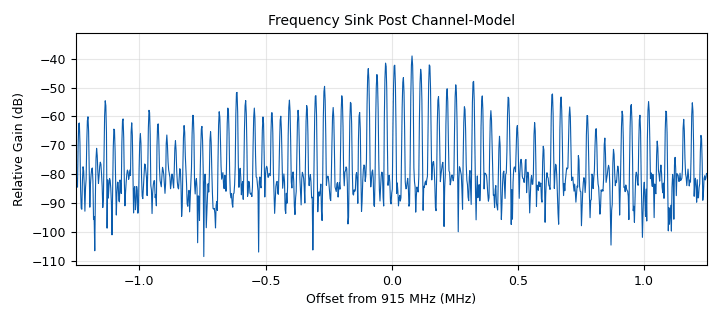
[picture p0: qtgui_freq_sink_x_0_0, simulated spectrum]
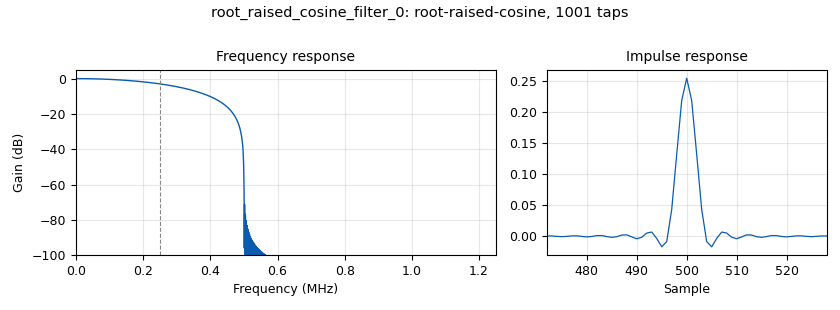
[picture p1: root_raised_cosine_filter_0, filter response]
options:
  parameters:
    generate_options: qt_gui
    id: FSK4
    output_language: python
    title: Not titled yet
  states: {}

blocks:
- name: samp_rate
  id: variable
  parameters:
    value: 2.5e6
  states: {}
- name: sps
  id: variable
  parameters:
    value: 1e6
  states: {}
- name: analog_pll_freqdet_cf_0
  id: analog_pll_freqdet_cf
  parameters:
    max_freq: '120000'
    min_freq: '119000'
    w: '.06'
  states: {state: disabled}
- name: blocks_delay_0
  id: blocks_delay
  parameters:
    delay: '10'
    type: byte
  states: {state: disabled}
- name: blocks_file_sink_0
  id: blocks_file_sink
  parameters:
    file: /home/ben/Documents/rx
    type: byte
    unbuffered: 'True'
  states: {}
- name: channels_channel_model_0
  id: channels_channel_model
  parameters:
    epsilon: '1.000'
    freq_offset: '.0001'
    noise_voltage: '0.01'
    seed: '0'
    taps: 1 +0j
  states: {}
- name: epy_block_0
  id: epy_block
  parameters:
    _source_code: |
      import numpy as np
      from gnuradio import gr

      class blk(gr.sync_block):
          def __init__(self, samp_rate=1e6, fsk_deviation=500e3):
              gr.sync_block.__init__(
                  self,
                  name='FSK Modulation',
                  in_sig=[np.uint8],
                  out_sig=[np.complex64]
              )
              self.samp_rate = samp_rate
              self.fsk_deviation = fsk_deviation
              self.center_freq = 0
              self.phase_inc0 = 2.0 * np.pi * (self.center_freq - self.fsk_deviation) / self.samp_rate
              self.phase_inc1 = 2.0 * np.pi * (self.center_freq + self.fsk_deviation) / self.samp_rate
              self.phase = 0
              self.counter = 0  # Initialize the counter

          def work(self, input_items, output_items):
              in0 = input_items[0]
              out = output_items[0]

              for i in range(len(in0)):
                  if in0[i] == 0:
                      self.phase += self.phase_inc0
                  else:
                      self.phase += self.phase_inc1
                  out[i] = np.exp(1j * self.phase)
                  if self.phase > 2.0 * np.pi:
                      self.phase -= 2.0 * np.pi

              # Print first 10 modulated bits every 1000 iterations
              #if self.counter % 1000 == 0:
               #   print("Modulated Bits:", in0[:0])
              #self.counter += 1

              return len(output_items[0])
    fsk_deviation: samp_rate/10
    samp_rate: samp_rate
  states: {}
- name: epy_block_1
  id: epy_block
  parameters:
    _source_code: |
      import numpy as np
      from gnuradio import gr

      class custom_message_to_bits(gr.basic_block):
          def __init__(self, message="Hello from FSK", interval=10, print_interval=10, preamble=[170, 170]):
              gr.basic_block.__init__(self,
                  name="custom_message_to_bits",
                  in_sig=None,
                  out_sig=[np.uint8])

              self.message = message
              self.interval = int(interval)
              self.print_interval = int(print_interval)
              self.preamble = np.array(preamble, dtype=np.uint8)
              self.message_bytes = np.frombuffer(message.encode('utf-8'), dtype=np.uint8)
              self.set_output_multiple(8 * (len(self.preamble) + len(self.message_bytes) + 1))  # Output in bits
              self.counter = 0
              self.print_counter = 0

          def byte_to_bits(self, byte_array):
              return np.unpackbits(byte_array)

          def general_work(self, input_items, output_items):
              output = output_items[0]
              if self.counter % self.interval == 0:
                  header = np.array([len(self.message_bytes)], dtype=np.uint8)
                  packet = np.concatenate((self.preamble, header, self.message_bytes))
                  packet_bits = self.byte_to_bits(packet)

                  if self.print_counter % self.print_interval == 0:
                      print(f"Header (message length): {header[0]}")
                      print(f"Source Bits: {packet_bits}")

                  self.print_counter += 1
                  output[:len(packet_bits)] = packet_bits
                  produced = len(packet_bits)
              else:
                  zeros_length = 8 * (len(self.preamble) + len(self.message_bytes) + 1)
                  output[:zeros_length] = np.zeros(zeros_length, dtype=np.uint8)
                  produced = zeros_length
              
              self.counter += 1
              self.consume_each(0)  # No input to consume
              return produced
    interval: '1'
    message: '"Hello"'
    preamble: '[0xAB, 0xCD, 0xEF]'
    print_interval: '10000'
  states: {}
- name: epy_block_12_0
  id: epy_block
  parameters:
    _source_code: "import numpy as np\nfrom gnuradio import gr\n\nclass bits_to_message(gr.sync_block):\n    def __init__(self, preamble=[0xAB, 0xCD, 0xEF], header_length=1):\n        gr.sync_block.__init__(\n            self,\n            name='Bits to Message',\n            in_sig=[np.uint8],\n            out_sig=[np.uint8]\n        )\n        self.preamble = np.unpackbits(np.array(preamble, dtype=np.uint8))\n        self.header_length = header_length\n        self.buffer = np.array([], dtype=np.uint8)\n        self.max_buffer_size = 1000000  # Set a maximum\n\n    def detect_preamble(self, data):\n        preamble_length = len(self.preamble)\n        for i in range(len(data) - preamble_length + 1):\n            if np.array_equal(data[i:i + preamble_length], self.preamble):\n                return i + preamble_length\n        return -1\n\n    def work(self, input_items, output_items):\n        self.buffer = np.concatenate((self.buffer, input_items[0]))\n\n        out_data = []\n\n        while True:\n            preamble_index = self.detect_preamble(self.buffer)\n            if preamble_index == -1:\n                break\n            \n            header_end = preamble_index + self.header_length * 8\n            if header_end > len(self.buffer):\n                break\n            \n            header = np.array(self.buffer[preamble_index:header_end], dtype=np.uint8)\n            \n            if len(header) == 0:\n                break\n            \n            message_length = np.packbits(header)[0]\n            message_start = header_end\n            message_end = message_start + message_length * 8\n\n            if message_end > len(self.buffer):\n                break\n\n            message_bits = np.array(self.buffer[message_start:message_end], dtype=np.uint8)\n            \n            if len(message_bits) == 0:\n                break\n            \n            message_bytes = np.packbits(message_bits)\n            \n            # Output the raw binary message bytes directly\n            out_data.extend(message_bytes)\n            \n            # Print the decoded message for verification\n            try:\n                message_text = message_bytes.tobytes().decode('utf-8')\n                print(\"Decoded message:\", message_text)\n            except UnicodeDecodeError:\n                pass  # Ignore decoding errors\n\n            self.buffer = self.buffer[message_end:]\n\n        # Prevent buffer from growing indefinitely\n        if len(self.buffer) > self.max_buffer_size:\n            self.buffer = self.buffer[-self.max_buffer_size:]\n\n        output_items[0][:len(out_data)] = np.array(out_data, dtype=np.uint8)\n        self.consume(0, len(input_items[0]))\n        return len(out_data)\n\n"
    header_length: '1'
    preamble: '[0xAB, 0xCD, 0xEF]'
  states: {}
- name: epy_block_2
  id: epy_block
  parameters:
    _source_code: |
      import numpy as np
      from gnuradio import gr

      class fsk_demod(gr.sync_block):
          def __init__(self, samp_rate=1e6, fsk_deviation=500e3):
              gr.sync_block.__init__(
                  self,
                  name='FSK Demodulation',
                  in_sig=[np.complex64],
                  out_sig=[np.int8]
              )
              self.samp_rate = samp_rate
              self.fsk_deviation = fsk_deviation
              self.counter = 0  # Initialize the counter

          def work(self, input_items, output_items):
              in0 = input_items[0]
              out = output_items[0]

              for i in range(1, len(in0)):
                  phase_diff = np.angle(in0[i] * np.conj(in0[i-1]))
                  out[i] = 1 if phase_diff > 0 else 0

              # Print first 10 demodulated bits every 1000 iterations
              #if self.counter % 1 == 0:
                  #print("Demodulated Bits:", out[:0])
              #self.counter += 1

              return len(output_items[0])
    fsk_deviation: samp_rate/10
    samp_rate: samp_rate
  states: {}
- name: epy_block_3_0
  id: epy_block
  parameters:
    _source_code: "import numpy as np\nfrom gnuradio import gr\nimport time\n\nclass byte_printer(gr.sync_block):\n    def __init__(self):\n        gr.sync_block.__init__(\n            self,\n            name='Byte Printer',\n            in_sig=[np.uint8],\n            out_sig=None\n        )\n        self.last_print_time = time.time()\n\n    def work(self, input_items, output_items):\n        in0 = input_items[0]\n        current_time = time.time()\n\n        if current_time - self.last_print_time >= 2:\n            print(f\"Received Bytes: {in0}\")\n            self.last_print_time = current_time\n\n        return len(in0)\n\n"
  states: {state: disabled}
- name: epy_block_4
  id: epy_block
  parameters:
    _source_code: "import numpy as np\nfrom gnuradio import gr\nimport pmt\n\nclass custom_message_to_bits(gr.basic_block):\n    def __init__(self, interval=10, print_interval=10, preamble=[170, 170], file_path=\"msg.txt\"):\n        gr.basic_block.__init__(self,\n            name=\"custom_message_to_bits\",\n            in_sig=None,\n            out_sig=[np.uint8])\n\n        self.interval = int(interval)\n        self.print_interval = int(print_interval)\n        self.preamble = np.array(preamble, dtype=np.uint8)\n        self.file_path = file_path\n        self.set_output_multiple(8 * (len(self.preamble) + 1))  # Output in bits\n        self.counter = 0\n        self.print_counter = 0\n        self.message_length = 0\n        self.update_message()\n\n        # Define a message port\n        self.message_port_register_out(pmt.intern(\"message_length\"))\n\n    def update_message(self):\n        try:\n            with open(self.file_path, \"r\") as file:\n                message = file.read().strip()\n            self.message_bytes = np.frombuffer(message.encode('utf-8'), dtype=np.uint8)\n            self.message_length = len(self.message_bytes)\n            self.set_output_multiple(8 * (len(self.preamble) + self.message_length + 1))\n        except FileNotFoundError:\n            print(\"Message file not found. Using default message.\")\n            self.message_bytes = np.frombuffer(\"Default Message\".encode('utf-8'), dtype=np.uint8)\n            self.message_length = len(self.message_bytes)\n\n    def byte_to_bits(self, byte_array):\n        return np.unpackbits(byte_array)\n\n    def general_work(self, input_items, output_items):\n        output = output_items[0]\n        if self.counter % self.interval == 0:\n            self.update_message()  # Update message from file each interval\n            header = np.array([self.message_length], dtype=np.uint8)\n            packet = np.concatenate((self.preamble, header, self.message_bytes))\n            packet_bits = self.byte_to_bits(packet)\n\n            if self.print_counter % self.print_interval == 0:\n                print(f\"Header (message length): {header[0]}\")\n                print(f\"Source Bits: {packet_bits}\")\n\n            # Send the message length as a message\n            self.message_port_pub(pmt.intern(\"message_length\"), pmt.from_long(self.message_length))\n\n            self.print_counter += 1\n            output[:len(packet_bits)] = packet_bits\n            produced = len(packet_bits)\n        else:\n            zeros_length = 8 * (len(self.preamble) + self.message_length + 1)\n            output[:zeros_length] = np.zeros(zeros_length, dtype=np.uint8)\n            produced = zeros_length\n\n        self.counter += 1\n        self.consume_each(0)  # No input to consume\n        return produced\n\n"
    file_path: '"/home/ben/Documents/test.txt"'
    interval: '1'
    preamble: '[0xAB, 0xCD, 0xEF]'
    print_interval: '10000'
  states: {state: disabled}
- name: epy_block_5
  id: epy_block
  parameters:
    _source_code: |
      import numpy as np
      from gnuradio import gr

      class custom_message_to_bits(gr.basic_block):
          def __init__(self, interval=10, print_interval=10, preamble=[170, 170], file_path="msg.txt"):
              gr.basic_block.__init__(self,
                  name="custom_message_to_bits",
                  in_sig=None,
                  out_sig=[np.uint8])

              self.interval = int(interval)
              self.print_interval = int(print_interval)
              self.preamble = np.array(preamble, dtype=np.uint8)
              self.file_path = file_path
              self.set_output_multiple(8 * (len(self.preamble) + 1))  # Output in bits
              self.counter = 0
              self.print_counter = 0
              self.update_message()

          def update_message(self):
              try:
                  with open(self.file_path, "r") as file:
                      message = file.read().strip()
                  self.message_bytes = np.frombuffer(message.encode('utf-8'), dtype=np.uint8)
                  self.set_output_multiple(8 * (len(self.preamble) + len(self.message_bytes) + 1))
              except FileNotFoundError:
                  print("Message file not found. Using default message.")
                  self.message_bytes = np.frombuffer("Default Message".encode('utf-8'), dtype=np.uint8)

          def byte_to_bits(self, byte_array):
              return np.unpackbits(byte_array)

          def general_work(self, input_items, output_items):
              output = output_items[0]
              if self.counter % self.interval == 0:
                  self.update_message()  # Update message from file each interval
                  header = np.array([len(self.message_bytes)], dtype=np.uint8)
                  packet = np.concatenate((self.preamble, header, self.message_bytes))
                  packet_bits = self.byte_to_bits(packet)

                  if self.print_counter % self.print_interval == 0:
                      print(f"Header (message length): {header[0]}")
                      print(f"Source Bits: {packet_bits}")

                  self.print_counter += 1
                  output[:len(packet_bits)] = packet_bits
                  produced = len(packet_bits)
              else:
                  zeros_length = 8 * (len(self.preamble) + len(self.message_bytes) + 1)
                  output[:zeros_length] = np.zeros(zeros_length, dtype=np.uint8)
                  produced = zeros_length

              self.counter += 1
              self.consume_each(0)  # No input to consume
              return produced
    file_path: '"/home/ben/Documents/test"'
    interval: '1'
    preamble: '[0xAB, 0xCD, 0xEF]'
    print_interval: '10000'
  states: {state: disabled}
- name: qtgui_freq_sink_x_0
  id: qtgui_freq_sink_x
  parameters:
    autoscale: 'True'
    bw: samp_rate
    fc: 915e6
    fftsize: '1024'
    name: '"Frequency Sink Pre Channel-Model"'
    type: complex
  states: {state: disabled}
- name: qtgui_freq_sink_x_0_0
  id: qtgui_freq_sink_x
  parameters:
    autoscale: 'True'
    bw: samp_rate
    fc: 915e6
    fftsize: '1024'
    name: '"Frequency Sink Post Channel-Model"'
    type: complex
  states: {}
- name: root_raised_cosine_filter_0
  id: root_raised_cosine_filter
  parameters:
    alpha: '1'
    decim: '10'
    gain: '1'
    interp: '100'
    ntaps: '1000'
    samp_rate: samp_rate
    sym_rate: samp_rate/5
    type: interp_fir_filter_ccf
  states: {}
- name: root_raised_cosine_filter_0_0
  id: root_raised_cosine_filter
  parameters:
    alpha: '1'
    decim: '100'
    gain: '1'
    ntaps: '1000'
    samp_rate: samp_rate
    sym_rate: samp_rate/5
    type: fir_filter_ccf
  states: {}
- name: soapy_limesdr_sink_0
  id: soapy_limesdr_sink
  parameters:
    bandwidth: samp_rate
    center_freq: 915e6
    gain: '10'
    samp_rate: samp_rate
    type: fc32
  states: {state: disabled}
- name: soapy_limesdr_source_0
  id: soapy_limesdr_source
  parameters:
    bandwidth: samp_rate
    center_freq: 915e6
    gain: '0'
    samp_rate: samp_rate
    type: fc32
  states: {state: disabled}
- name: virtual_sink_0
  id: virtual_sink
  parameters:
    stream_id: data
  states: {state: disabled}
- name: virtual_source_0
  id: virtual_source
  parameters:
    stream_id: data
  states: {state: disabled}

connections:
- [blocks_delay_0, '0', epy_block_12_0, '0']
- [channels_channel_model_0, '0', root_raised_cosine_filter_0_0, '0']
- [epy_block_0, '0', root_raised_cosine_filter_0, '0']
- [epy_block_1, '0', epy_block_0, '0']
- [epy_block_12_0, '0', blocks_file_sink_0, '0']
- [epy_block_2, '0', blocks_delay_0, '0']
- [epy_block_2, '0', epy_block_12_0, '0']
- [epy_block_2, '0', epy_block_3_0, '0']
- [epy_block_5, '0', epy_block_0, '0']
- [root_raised_cosine_filter_0, '0', channels_channel_model_0, '0']
- [root_raised_cosine_filter_0, '0', qtgui_freq_sink_x_0, '0']
- [root_raised_cosine_filter_0, '0', soapy_limesdr_sink_0, '0']
- [root_raised_cosine_filter_0, '0', virtual_sink_0, '0']
- [root_raised_cosine_filter_0_0, '0', epy_block_2, '0']
- [root_raised_cosine_filter_0_0, '0', qtgui_freq_sink_x_0_0, '0']
- [soapy_limesdr_source_0, '0', root_raised_cosine_filter_0_0, '0']
- [virtual_source_0, '0', root_raised_cosine_filter_0_0, '0']

metadata:
  file_format: 1
  grc_version: 3.10.3.0
